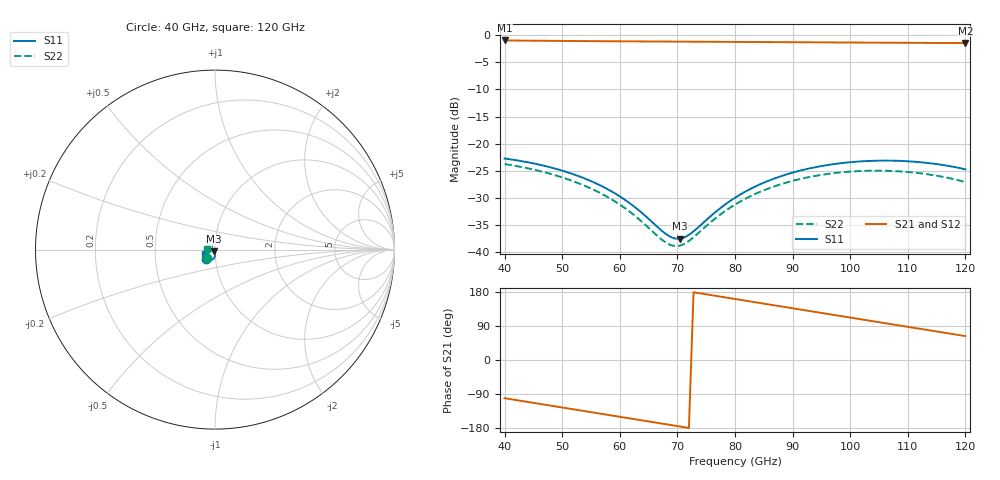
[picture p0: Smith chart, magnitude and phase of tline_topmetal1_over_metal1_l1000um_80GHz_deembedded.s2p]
! Created with skrf 2.0.1 (http://scikit-rf.org).
# GHz S DB R 50.0
!freq dBS11 angS11 dBS21 angS21 dBS12 angS12 dBS22 angS22
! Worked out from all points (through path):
!   101 points, 40 GHz to 120 GHz, reference 50 ohm
!   highest |S21| = -0.99 dB at 40 GHz (marker M1); lowest = -1.5 dB at 120 GHz (marker M2)
!   group delay of S21, straight-line fit = 6.81 ps
!   lowest |S11| = -37.5 dB at 70.4 GHz (marker M3), VSWR 1.03, Z = 49.2 - j1.03 ohm
!   |S11| at or under -10 dB: start of sweep to end of sweep
!   |S22| runs from -38.9 to -23.8 dB; largest |S21 - S12| = 1e-13
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40  -22.74 -131.5  -0.99 -100.8  -0.99 -100.8  -23.75 -136.8
46.4  -23.96 -147.8  -1.04 -116.5  -1.04 -116.5  -25.12 -154.7
49.6  -24.84 -155.2  -1.07 -124.4  -1.07 -124.4  -26.08 -162.9
53.6  -26.28 -163.4  -1.10 -134.2  -1.10 -134.2  -27.62 -172.0
57.6  -28.22 -169.7  -1.13 -144.0  -1.13 -144.0  -29.66 -179.2
60.8  -30.27 -172.3  -1.15 -151.9  -1.15 -151.9  -31.81 177.8
63.2  -32.18 -171.4  -1.16 -157.7  -1.16 -157.7  -33.79 178.5
67.2  -35.96 -157.6  -1.18 -167.5  -1.18 -167.5  -37.60 -166.8
68.8  -37.17 -144.6  -1.19 -171.5  -1.19 -171.5  -38.68 -153.4
70.4  -37.52 -128.1  -1.20 -175.4  -1.20 -175.4  -38.80 -137.2
72  -36.80 -112.6  -1.21 -179.3  -1.21 -179.3  -37.92 -122.9
76.8  -32.43 -91.2  -1.24 168.9  -1.24 168.9  -33.59 -105.3
80  -29.96 -89.7  -1.25 161.0  -1.25 161.0  -31.23 -105.3
83.2  -28.06 -92.1  -1.27 153.2  -1.27 153.2  -29.42 -108.9
86.4  -26.59 -96.4  -1.29 145.3  -1.29 145.3  -28.03 -114.1
89.6  -25.45 -101.5  -1.31 137.5  -1.31 137.5  -26.96 -120.3
93.6  -24.41 -108.7  -1.33 127.7  -1.33 127.7  -26.00 -128.7
97.6  -23.70 -116.3  -1.35 117.9  -1.35 117.9  -25.37 -137.5
100.8  -23.34 -122.6  -1.37 110.0  -1.37 110.0  -25.09 -144.7
107.2  -23.13 -134.9  -1.41 94.4  -1.41 94.4  -25.03 -159.1
113.6  -23.57 -146.8  -1.44 78.7  -1.44 78.7  -25.66 -173.1
120  -24.72 -157.4  -1.47 63.1  -1.47 63.1  -27.08 174.0
